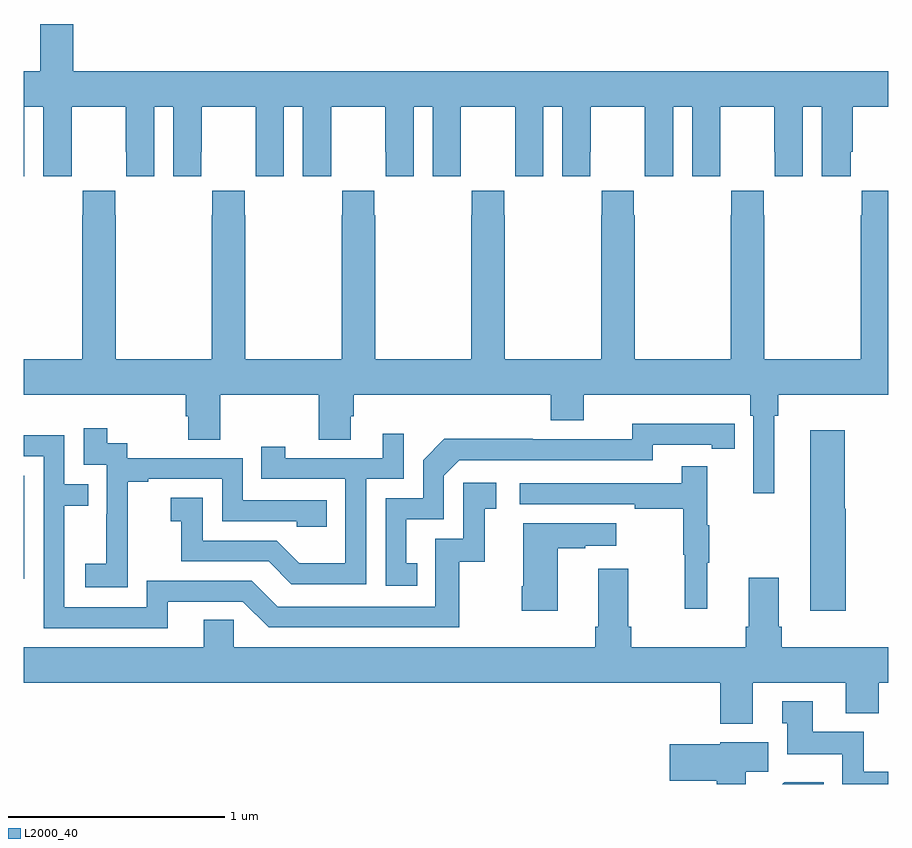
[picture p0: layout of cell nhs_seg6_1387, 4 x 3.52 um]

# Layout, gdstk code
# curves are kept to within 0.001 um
import gdstk
lib = gdstk.Library(unit=1e-6, precision=1e-09)
def R(c, l, rs):  # rectangles x0, y0, x1, y1
    for r in rs: c.add(gdstk.rectangle(r[:2], r[2:], *l))
def P(c, l, *ps):  # polygons
    for p in ps: c.add(gdstk.Polygon(p, *l))
L2000_40 = (2000, 40)

nhs_seg6_1387 = lib.new_cell('nhs_seg6_1387')
R(nhs_seg6_1387, L2000_40, [(195,982.449,195.003,982.926)])
P(nhs_seg6_1387, L2000_40, [(195.004,984.632),(195.092,984.632),(195.092,984.312),(195.222,984.312),(195.222,984.424),(195.223,984.424),(195.223,984.632),(195.473,984.632),(195.473,984.424),(195.474,984.424),(195.474,984.312),(195.604,984.312),(195.604,984.632),(195.692,984.632),(195.692,984.312),(195.822,984.312),(195.822,984.424),(195.823,984.424),(195.823,984.632),(196.073,984.632),(196.073,984.424),(196.074,984.424),(196.074,984.312),(196.204,984.312),(196.204,984.632),(196.292,984.632),(196.292,984.312),(196.422,984.312),(196.422,984.424),(196.423,984.424),(196.423,984.632),(196.673,984.632),(196.673,984.424),(196.674,984.424),(196.674,984.312),(196.804,984.312),(196.804,984.632),(196.892,984.632),(196.892,984.312),(197.022,984.312),(197.022,984.424),(197.023,984.424),(197.023,984.632),(197.273,984.632),(197.273,984.424),(197.274,984.424),(197.274,984.312),(197.404,984.312),(197.404,984.632),(197.492,984.632),(197.492,984.312),(197.622,984.312),(197.622,984.424),(197.623,984.424),(197.623,984.632),(197.873,984.632),(197.873,984.424),(197.874,984.424),(197.874,984.312),(198.004,984.312),(198.004,984.632),(198.092,984.632),(198.092,984.312),(198.222,984.312),(198.222,984.424),(198.223,984.424),(198.223,984.632),(198.473,984.632),(198.473,984.424),(198.474,984.424),(198.474,984.312),(198.604,984.312),(198.604,984.632),(198.692,984.632),(198.692,984.312),(198.826,984.312),(198.826,984.424),(198.836,984.424),(198.836,984.632),(199,984.632),(199,984.796),(195.23,984.796),(195.23,985.015),(195.077,985.015),(195.077,984.796),(195,984.796),(195,984.312),(195.004,984.312)],
  [(198.472,983.204),(198.491,983.204),(198.491,983.3),(199,983.3),(199,984.244),(198.877,984.244),(198.877,984.131),(198.871,984.131),(198.871,983.464),(198.426,983.464),(198.426,984.131),(198.423,984.131),(198.423,984.244),(198.273,984.244),(198.273,984.131),(198.271,984.131),(198.271,983.464),(197.826,983.464),(197.826,984.131),(197.823,984.131),(197.823,984.244),(197.673,984.244),(197.673,984.131),(197.671,984.131),(197.671,983.464),(197.226,983.464),(197.226,984.131),(197.223,984.131),(197.223,984.244),(197.073,984.244),(197.073,984.131),(197.071,984.131),(197.071,983.464),(196.626,983.464),(196.626,984.131),(196.623,984.131),(196.623,984.244),(196.473,984.244),(196.473,984.131),(196.471,984.131),(196.471,983.464),(196.026,983.464),(196.026,984.131),(196.023,984.131),(196.023,984.244),(195.873,984.244),(195.873,984.131),(195.871,984.131),(195.871,983.464),(195.426,983.464),(195.426,984.131),(195.423,984.131),(195.423,984.244),(195.273,984.244),(195.273,984.131),(195.271,984.131),(195.271,983.464),(195,983.464),(195,983.3),(195.749,983.3),(195.749,983.202),(195.761,983.202),(195.761,983.092),(195.909,983.092),(195.909,983.3),(196.366,983.3),(196.366,983.092),(196.513,983.092),(196.513,983.202),(196.526,983.202),(196.526,983.3),(197.438,983.3),(197.438,983.183),(197.59,983.183),(197.59,983.3),(198.362,983.3),(198.362,983.204),(198.375,983.204),(198.375,982.845),(198.472,982.845)],
  [(196.82,982.521),(196.771,982.521),(196.771,982.725),(196.944,982.725),(196.944,982.926),(197.016,982.998),(197.91,982.998),(197.91,983.07),(198.182,983.07),(198.182,983.05),(198.29,983.05),(198.29,983.166),(197.814,983.167),(197.814,983.094),(197.354,983.094),(197.354,983.096),(196.946,983.096),(196.848,982.998),(196.848,982.821),(196.674,982.821),(196.674,982.416),(196.82,982.416)],
  [(195.483,982.615),(195.482,982.615),(195.482,982.899),(195.577,982.899),(195.577,982.911),(195.918,982.911),(195.918,982.716),(196.263,982.716),(196.263,982.689),(196.403,982.689),(196.403,982.812),(196.014,982.812),(196.014,983.007),(195.48,983.007),(195.48,983.076),(195.388,983.076),(195.388,983.146),(195.279,983.146),(195.279,982.977),(195.384,982.977),(195.384,982.748),(195.383,982.748),(195.383,982.519),(195.285,982.519),(195.285,982.409),(195.483,982.409)],
  [(198.802,982.773),(198.797,982.773),(198.797,983.137),(198.638,983.137),(198.638,982.302),(198.802,982.302)],
  [(196.584,982.911),(196.758,982.911),(196.758,983.119),(196.661,983.119),(196.661,983.007),(196.21,983.007),(196.21,983.059),(196.099,983.059),(196.099,982.911),(196.488,982.911),(196.488,982.522),(196.274,982.522),(196.17,982.626),(195.828,982.626),(195.828,982.825),(195.681,982.825),(195.681,982.715),(195.73,982.715),(195.73,982.53),(196.133,982.53),(196.238,982.425),(196.584,982.425)],
  [(195.667,982.344),(196.014,982.344),(196.134,982.224),(197.014,982.224),(197.014,982.527),(197.132,982.527),(197.132,982.773),(197.185,982.773),(197.185,982.894),(197.034,982.894),(197.034,982.635),(196.905,982.635),(196.905,982.32),(196.176,982.32),(196.056,982.44),(195.57,982.44),(195.57,982.317),(195.189,982.317),(195.189,982.786),(195.299,982.786),(195.299,982.887),(195.189,982.887),(195.189,983.112),(195,983.112),(195,983.016),(195.093,983.016),(195.093,982.221),(195.667,982.221)],
  [(198.161,982.523),(198.172,982.523),(198.172,982.697),(198.161,982.697),(198.161,982.969),(198.043,982.969),(198.043,982.89),(197.295,982.89),(197.295,982.794),(197.827,982.794),(197.827,982.774),(198.051,982.774),(198.051,982.56),(198.058,982.56),(198.058,982.311),(198.161,982.311)],
  [(197.47,982.591),(197.597,982.591),(197.597,982.601),(197.74,982.601),(197.74,982.705),(197.312,982.705),(197.312,982.414),(197.305,982.414),(197.305,982.302),(197.47,982.302)],
  [(198.373,981.968),(198.803,981.968),(198.803,981.827),(198.956,981.827),(198.956,981.968),(199,981.968),(199,982.132),(198.506,982.132),(198.506,982.228),(198.493,982.228),(198.493,982.453),(198.353,982.453),(198.353,982.228),(198.341,982.228),(198.341,982.132),(197.81,982.132),(197.81,982.228),(197.797,982.228),(197.797,982.495),(197.657,982.495),(197.657,982.228),(197.645,982.228),(197.645,982.132),(195.972,982.132),(195.972,982.259),(195.833,982.259),(195.833,982.132),(195,982.132),(195,981.968),(198.221,981.968),(198.221,981.779),(198.373,981.779)],
  [(199,981.556),(198.885,981.556),(198.885,981.742),(198.649,981.742),(198.649,981.883),(198.509,981.883),(198.509,981.78),(198.533,981.78),(198.533,981.638),(198.786,981.638),(198.786,981.5),(199,981.5)],
  [(198.34,981.556),(198.445,981.556),(198.445,981.694),(198.222,981.694),(198.222,981.685),(197.988,981.685),(197.988,981.515),(198.206,981.515),(198.206,981.5),(198.34,981.5)],
  [(198.701,981.508),(198.518,981.508),(198.51,981.5),(198.701,981.5)])

lib.write_gds('nhs_seg6_1387.gds')
